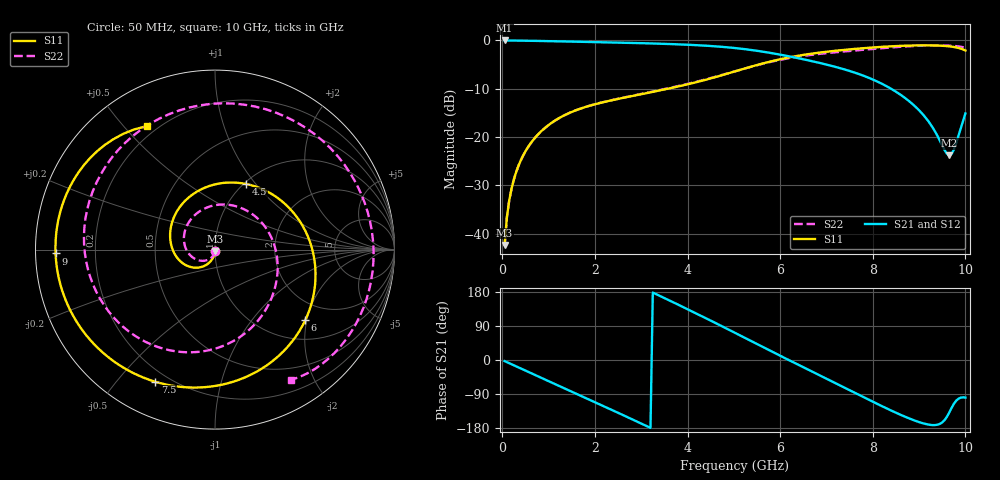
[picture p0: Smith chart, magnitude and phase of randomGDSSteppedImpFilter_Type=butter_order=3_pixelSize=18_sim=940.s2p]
! freq	dB(S11)	phase(S11)	dB(S12)	phase(S12)
!  dB(S21)	phase(S21)	dB(S22)	phase(S22)
!S-par simulation data
#  GHz  S  DB  R 50
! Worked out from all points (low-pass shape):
!   200 points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, 50 MHz to 10 GHz, reference 50 ohm
!   highest |S21| = -0.01 dB at 50 MHz (marker M1); lowest = -23.8 dB at 9.65 GHz (marker M2)
!   |S21| within 3 dB of the highest: start of sweep to 6.036 GHz
!   lowest |S11| = -42.3 dB at 50 MHz (marker M3), VSWR 1.02, Z = 50 - j0.765 ohm
!   |S11| at or under -10 dB: start of sweep to 3.574 GHz
!   |S22| runs from -42.6 to -1.0 dB; largest |S21 - S12| = 0
!   S11 on the Smith chart (normalised r, x): 50 MHz: 1.00, -0.02; 4.5 GHz: 1.02, +0.89; 6 GHz: 1.48, -1.96; 7.5 GHz: 0.15, -0.63; 9 GHz: 0.06, -0.01; 10 GHz: 0.16, +0.58
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0.05  -42.32 -89.7  -0.01 -2.8  -0.01 -2.8  -42.58 -88.5
0.1  -36.52 -92.8  -0.01 -5.7  -0.01 -5.7  -36.57 -95.3
0.2  -30.65 -98.1  -0.02 -11.3  -0.02 -11.3  -30.68 -103.9
0.5  -22.95 -111.2  -0.06 -28.0  -0.06 -28.0  -22.98 -125.7
1.15  -16.51 -137.5  -0.18 -64.1  -0.18 -64.1  -16.52 -172.4
1.75  -13.92 -160.2  -0.30 -97.4  -0.30 -97.4  -13.91 143.6
2.65  -11.81 166.3  -0.48 -147.8  -0.48 -147.8  -11.76 76.5
3.4  -10.35 132.6  -0.68 169.3  -0.68 169.3  -10.27 24.7
4  -9.09 98.2  -0.89 134.1  -0.89 134.1  -9.00 -11.2
4.5  -7.86 64.8  -1.15 104.0  -1.15 104.0  -7.79 -37.8
5.05  -6.33 25.6  -1.60 70.1  -1.60 70.1  -6.31 -66.2
5.55  -4.96 -9.2  -2.22 39.0  -2.22 39.0  -5.00 -93.7
6  -3.90 -38.0  -2.94 11.3  -2.94 11.3  -4.02 -120.6
6.7  -2.71 -77.0  -4.32 -31.2  -4.32 -31.2  -2.95 -167.6
7.1  -2.24 -96.5  -5.24 -55.3  -5.24 -55.3  -2.54 162.4
7.5  -1.85 -114.4  -6.32 -79.6  -6.32 -79.6  -2.18 130.0
7.95  -1.49 -133.5  -7.88 -107.0  -7.88 -107.0  -1.81 91.6
8.35  -1.24 -150.3  -9.75 -130.7  -9.75 -130.7  -1.49 57.5
8.7  -1.09 -165.2  -11.94 -149.9  -11.94 -149.9  -1.25 29.1
9  -1.03 -178.6  -14.46 -163.9  -14.46 -163.9  -1.11 6.4
9.65  -1.22 147.1  -23.79 -139.0  -23.79 -139.0  -1.08 -37.6
10  -2.09 118.9  -15.12 -99.3  -15.12 -99.3  -1.51 -59.8
